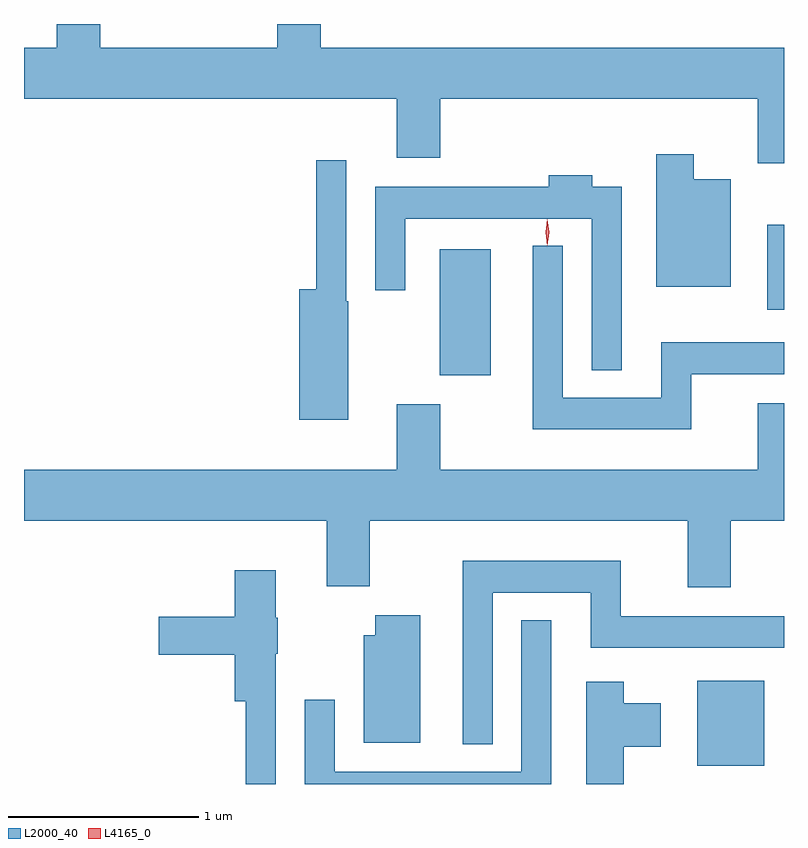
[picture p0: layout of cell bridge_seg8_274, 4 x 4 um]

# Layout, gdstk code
import gdstk
lib = gdstk.Library(unit=1e-6, precision=1e-09)
def R(c, l, rs):  # rectangles x0, y0, x1, y1
    for r in rs: c.add(gdstk.rectangle(r[:2], r[2:], *l))
def P(c, l, *ps):  # polygons
    for p in ps: c.add(gdstk.Polygon(p, *l))
L2000_40 = (2000, 40)
L4165_0 = (4165, 0)

bridge_seg8_274 = lib.new_cell('bridge_seg8_274')
R(bridge_seg8_274, L2000_40, [(1278.151,1819.586,1278.504,1820.034), (1276.796,1821.641,1277.064,1822.304), (1278.521,1821.986,1278.608,1822.434)])
P(bridge_seg8_274, L2000_40, [(1278.608,1823.364),(1276.169,1823.364),(1276.169,1823.49),(1275.941,1823.49),(1275.941,1823.364),(1275.009,1823.364),(1275.009,1823.49),(1274.781,1823.49),(1274.781,1823.364),(1274.608,1823.364),(1274.608,1823.096),(1276.571,1823.096),(1276.571,1822.786),(1276.799,1822.786),(1276.799,1823.096),(1278.471,1823.096),(1278.471,1822.756),(1278.608,1822.756)],
  [(1278.329,1822.674),(1278.134,1822.674),(1278.134,1822.804),(1277.936,1822.804),(1277.936,1822.106),(1278.329,1822.106)],
  [(1276.314,1822.03),(1276.304,1822.03),(1276.304,1822.773),(1276.146,1822.773),(1276.146,1822.094),(1276.056,1822.094),(1276.056,1821.406),(1276.314,1821.406)],
  [(1277.754,1822.634),(1277.599,1822.634),(1277.599,1822.694),(1277.371,1822.694),(1277.371,1822.634),(1276.456,1822.634),(1276.456,1822.088),(1276.614,1822.088),(1276.614,1822.466),(1277.596,1822.466),(1277.596,1821.668),(1277.754,1821.668)],
  [(1278.119,1821.646),(1278.608,1821.646),(1278.608,1821.814),(1277.961,1821.814),(1277.961,1821.524),(1277.444,1821.524),(1277.444,1822.323),(1277.286,1822.323),(1277.286,1821.356),(1278.119,1821.356)],
  [(1278.329,1820.876),(1278.608,1820.876),(1278.608,1821.494),(1278.471,1821.494),(1278.471,1821.144),(1276.799,1821.144),(1276.799,1821.489),(1276.571,1821.489),(1276.571,1821.144),(1274.608,1821.144),(1274.608,1820.876),(1276.201,1820.876),(1276.201,1820.531),(1276.429,1820.531),(1276.429,1820.876),(1278.101,1820.876),(1278.101,1820.526),(1278.329,1820.526)],
  [(1277.074,1820.496),(1277.591,1820.496),(1277.591,1820.206),(1278.608,1820.206),(1278.608,1820.374),(1277.749,1820.374),(1277.749,1820.664),(1276.916,1820.664),(1276.916,1819.698),(1277.074,1819.698)],
  [(1275.934,1820.175),(1275.944,1820.175),(1275.944,1820.365),(1275.934,1820.365),(1275.934,1820.614),(1275.716,1820.614),(1275.716,1820.369),(1275.316,1820.369),(1275.316,1820.171),(1275.716,1820.171),(1275.716,1819.926),(1275.776,1819.926),(1275.776,1819.49),(1275.934,1819.49)],
  [(1276.694,1820.379),(1276.456,1820.379),(1276.456,1820.274),(1276.396,1820.274),(1276.396,1819.706),(1276.694,1819.706)],
  [(1277.384,1820.353),(1277.226,1820.353),(1277.226,1819.554),(1276.244,1819.554),(1276.244,1819.933),(1276.086,1819.933),(1276.086,1819.49),(1277.384,1819.49)],
  [(1277.764,1819.686),(1277.959,1819.686),(1277.959,1819.914),(1277.764,1819.914),(1277.764,1820.029),(1277.566,1820.029),(1277.566,1819.49),(1277.764,1819.49)])
P(bridge_seg8_274, L4165_0, [(1277.362,1822.327),(1277.353,1822.394),(1277.362,1822.46),(1277.363,1822.46),(1277.363,1822.46),(1277.373,1822.394),(1277.363,1822.327),(1277.363,1822.327)],
  [(1277.363,1822.323),(1277.362,1822.324),(1277.353,1822.393),(1277.362,1822.462),(1277.363,1822.463),(1277.363,1822.462),(1277.373,1822.393),(1277.363,1822.324)])

lib.write_gds('bridge_seg8_274.gds')
